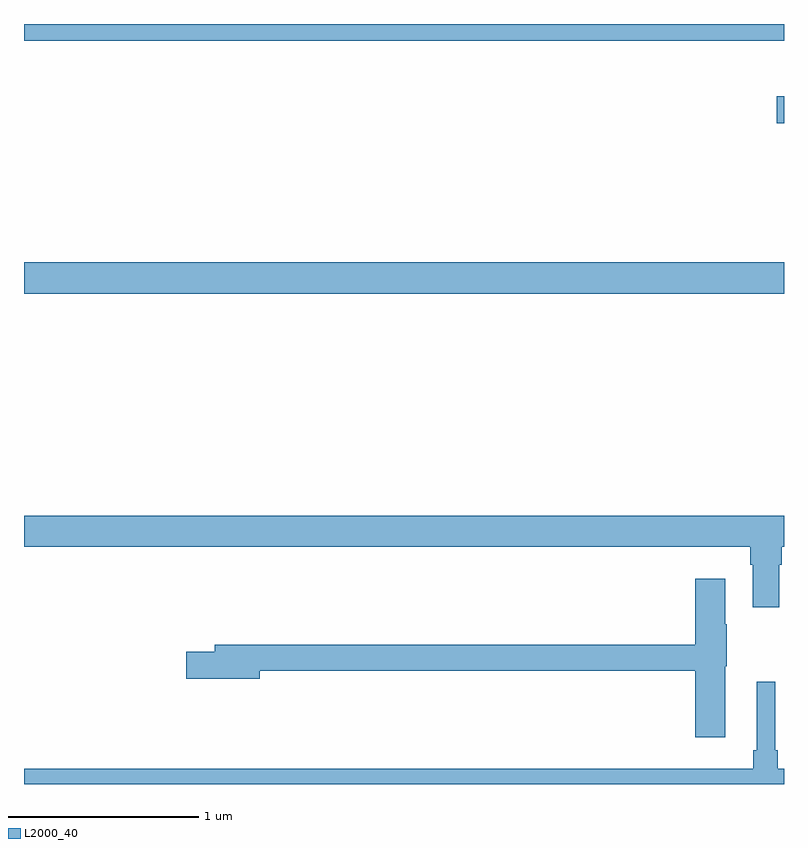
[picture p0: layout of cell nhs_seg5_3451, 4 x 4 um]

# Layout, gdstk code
import gdstk
lib = gdstk.Library(unit=1e-6, precision=1e-09)
def R(c, l, rs):  # rectangles x0, y0, x1, y1
    for r in rs: c.add(gdstk.rectangle(r[:2], r[2:], *l))
def P(c, l, *ps):  # polygons
    for p in ps: c.add(gdstk.Polygon(p, *l))
L2000_40 = (2000, 40)

nhs_seg5_3451 = lib.new_cell('nhs_seg5_3451')
R(nhs_seg5_3451, L2000_40, [(313,903.38,317,903.544), (316.962,904.277,317,904.419), (313,904.712,317,904.799)])
P(nhs_seg5_3451, L2000_40, [(316.975,901.952),(316.988,901.952),(316.988,902.048),(317,902.048),(317,902.212),(313,902.212),(313,902.048),(316.823,902.048),(316.823,901.952),(316.835,901.952),(316.835,901.728),(316.975,901.728)],
  [(316.69,901.419),(316.698,901.419),(316.698,901.64),(316.69,901.64),(316.69,901.879),(316.532,901.879),(316.532,901.532),(314.003,901.532),(314.003,901.496),(313.854,901.496),(313.854,901.354),(314.242,901.354),(314.242,901.396),(316.532,901.396),(316.532,901.044),(316.69,901.044)],
  [(317,900.88),(316.967,900.88),(316.967,900.976),(316.953,900.976),(316.953,901.336),(316.856,901.336),(316.856,900.976),(316.837,900.976),(316.837,900.88),(313,900.88),(313,900.799),(317,900.799)])

lib.write_gds('nhs_seg5_3451.gds')
